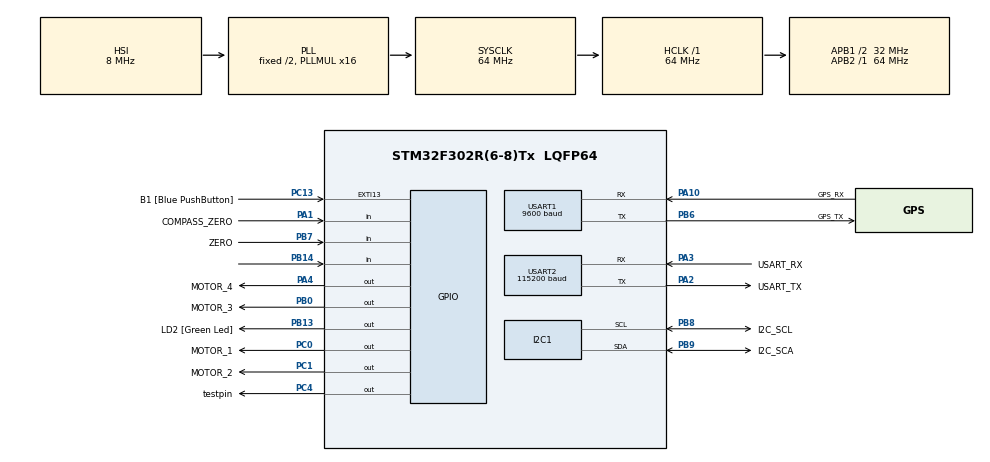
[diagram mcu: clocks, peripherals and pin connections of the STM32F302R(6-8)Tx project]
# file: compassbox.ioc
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I2C1.Timing=0x2000090E
Mcu.Family=STM32F3
Mcu.Name=STM32F302R(6-8)Tx
Mcu.Package=LQFP64
NVIC.PriorityGroup=NVIC_PRIORITYGROUP_0
NVIC.TIM6_DAC_IRQn=true\:0\:0\:false\:false\:true
NVIC.USART1_IRQn=true\:0\:0\:false\:false\:true
PA1.GPIO_Label=COMPASS_ZERO
PA1.Signal=GPIO_Input
PA10.GPIO_Label=GPS_RX
PA10.Mode=Asynchronous
PA10.Signal=USART1_RX
PA13.GPIO_Label=TMS
PA13.Signal=SYS_JTMS-SWDIO
PA14.GPIO_Label=TCK
PA14.Signal=SYS_JTCK-SWCLK
PA2.GPIO_Label=USART_TX
PA2.GPIO_Mode=GPIO_MODE_AF_PP
PA2.GPIO_PuPd=GPIO_NOPULL
PA2.GPIO_Speed=GPIO_SPEED_FREQ_LOW
PA2.Mode=Asynchronous
PA2.Signal=USART2_TX
PA3.GPIO_Label=USART_RX
PA3.GPIO_Mode=GPIO_MODE_AF_PP
PA3.GPIO_PuPd=GPIO_NOPULL
PA3.GPIO_Speed=GPIO_SPEED_FREQ_LOW
PA3.Mode=Asynchronous
PA3.Signal=USART2_RX
PA4.GPIO_Label=MOTOR_4
PA4.Signal=GPIO_Output
PB0.GPIO_Label=MOTOR_3
PB0.Signal=GPIO_Output
PB13.GPIO_Label=LD2 [Green Led]
PB13.Signal=GPIO_Output
PB14.Signal=GPIO_Input
PB3.GPIO_Label=SWO
PB3.Signal=SYS_JTDO-TRACESWO
PB6.GPIO_Label=GPS_TX
PB6.Mode=Asynchronous
PB6.Signal=USART1_TX
PB7.GPIO_Label=ZERO
PB7.Signal=GPIO_Input
PB8.GPIO_Label=I2C_SCL
PB8.Mode=I2C
PB8.Signal=I2C1_SCL
PB9.GPIO_Label=I2C_SCA
PB9.Mode=I2C
PB9.Signal=I2C1_SDA
PC0.GPIO_Label=MOTOR_1
PC0.Signal=GPIO_Output
PC1.GPIO_Label=MOTOR_2
PC1.Signal=GPIO_Output
PC13.GPIO_Label=B1 [Blue PushButton]
PC13.GPIO_ModeDefaultEXTI=GPIO_MODE_EVT_RISING
PC13.Signal=GPXTI13
PC14\ -\ OSC32_IN.Signal=RCC_OSC32_IN
PC15\ -\ OSC32_OUT.Signal=RCC_OSC32_OUT
PC4.GPIO_Label=testpin
PC4.Signal=GPIO_Output
PF0-OSC_IN.Signal=RCC_OSC_IN
PF1-OSC_OUT.Signal=RCC_OSC_OUT
ProjectManager.HeapSize=0x200
ProjectManager.StackSize=0x400
ProjectManager.TargetToolchain=TrueSTUDIO
RCC.AHBFreq_Value=64000000
RCC.APB1CLKDivider=RCC_HCLK_DIV2
RCC.APB1Freq_Value=32000000
RCC.APB1TimFreq_Value=64000000
RCC.APB2Freq_Value=64000000
RCC.APB2TimFreq_Value=64000000
RCC.CortexFreq_Value=64000000
RCC.HCLKFreq_Value=64000000
RCC.HSE_VALUE=8000000
RCC.HSI_VALUE=8000000
RCC.LSE_VALUE=32768
RCC.PLLM=8
RCC.PLLMUL=RCC_PLL_MUL16
RCC.PLLN=336
RCC.PLLP=RCC_PLLP_DIV4
RCC.PLLQ=7
RCC.RCC_PLLsource_Clock_Source_FROM_HSE=RCC_HSE_PREDIV_DIV2
RCC.SYSCLKFreq_VALUE=64000000
RCC.SYSCLKSourceVirtual=RCC_SYSCLKSOURCE_PLLCLK
RCC.USBFreq_Value=64000000
TIM6.Period=255
TIM6.Prescaler=1
USART1.BaudRate=9600
USART1.WordLength=UART_WORDLENGTH_8B
USART2.BaudRate=115200
USART2.WordLength=UART_WORDLENGTH_8B
VP_TIM6_VS_ClockSourceINT.Mode=Enable_Timer
board=NUCLEO-F302R8

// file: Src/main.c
/**
  ******************************************************************************
  * File Name          : main.c
  * Description        : Main program body
  ******************************************************************************
  *
  * COPYRIGHT(c) 2017 STMicroelectronics
  *
  * Redistribution and use in source and binary forms, with or without modification,
  * are permitted provided that the following conditions are met:
  *   1. Redistributions of source code must retain the above copyright notice,
  *      this list of conditions and the following disclaimer.
  *   2. Redistributions in binary form must reproduce the above copyright notice,
  *      this list of conditions and the following disclaimer in the documentation
  *      and/or other materials provided with the distribution.
  *   3. Neither the name of STMicroelectronics nor the names of its contributors
  *      may be used to endorse or promote products derived from this software
  *      without specific prior written permission.
  *
  * THIS SOFTWARE IS PROVIDED BY THE COPYRIGHT HOLDERS AND CONTRIBUTORS "AS IS"
  * AND ANY EXPRESS OR IMPLIED WARRANTIES, INCLUDING, BUT NOT LIMITED TO, THE
  * IMPLIED WARRANTIES OF MERCHANTABILITY AND FITNESS FOR A PARTICULAR PURPOSE ARE
  * DISCLAIMED. IN NO EVENT SHALL THE COPYRIGHT HOLDER OR CONTRIBUTORS BE LIABLE
  * FOR ANY DIRECT, INDIRECT, INCIDENTAL, SPECIAL, EXEMPLARY, OR CONSEQUENTIAL
  * DAMAGES (INCLUDING, BUT NOT LIMITED TO, PROCUREMENT OF SUBSTITUTE GOODS OR
  * SERVICES; LOSS OF USE, DATA, OR PROFITS; OR BUSINESS INTERRUPTION) HOWEVER
  * CAUSED AND ON ANY THEORY OF LIABILITY, WHETHER IN CONTRACT, STRICT LIABILITY,
  * OR TORT (INCLUDING NEGLIGENCE OR OTHERWISE) ARISING IN ANY WAY OUT OF THE USE
  * OF THIS SOFTWARE, EVEN IF ADVISED OF THE POSSIBILITY OF SUCH DAMAGE.
  *
  ******************************************************************************
  */
#include "stm32f3xx_hal.h"

/* USER CODE BEGIN Includes */
#include "compass.h"

#include "nmea/info.h"

#include "nmea/parser.h"

#include "nmea/gmath.h"

#include "motor.h"
/* USER CODE END Includes */

I2C_HandleTypeDef hi2c1;

TIM_HandleTypeDef htim6;

UART_HandleTypeDef huart1;
UART_HandleTypeDef huart2;

/* USER CODE BEGIN PV */
/* Private variables ---------------------------------------------------------*/
#define GPS_BUFFSIZE 256
nmeaPOS dest_pos = {
		.lat = 51.248596,
		.lon = -0.716903
};

/* USER CODE END PV */

void SystemClock_Config(void);
void Error_Handler(void);
static void MX_GPIO_Init(void);
static void MX_I2C1_Init(void);
static void MX_USART1_UART_Init(void);
static void MX_USART2_UART_Init(void);
static void MX_TIM6_Init(void);

/* USER CODE BEGIN PFP */
/* Private function prototypes -----------------------------------------------*/
bool get_location(nmeaPOS *pos);
int16_t angleFromCoordinate(nmeaPOS *pos1, nmeaPOS *pos2);
/* USER CODE END PFP */

/* USER CODE BEGIN 0 */

typedef enum {
	STARTUP = 0,
	ZERO_MOTORS,
	GET_FIX,
	ACTIVE,
	COMPASS_ERROR = -1
} state_t;

int _write(int file, char *data, int len) {   // arbitrary timeout 1000
	HAL_StatusTypeDef status = HAL_UART_Transmit(&huart2, (uint8_t*) data, len,
			1);

	// return # of bytes written - as best we can tell
	return (status == HAL_OK ? len : 0);
}

bool _cmd_rcvd;
//#define TEST
/* USER CODE END 0 */

int main(void)
{

  /* USER CODE BEGIN 1 */
	_cmd_rcvd = false;
	nmeaPOS gps_pos = {0.0,0.0};
	state_t state = STARTUP;
  /* USER CODE END 1 */

  /* MCU Configuration----------------------------------------------------------*/

  /* Reset of all peripherals, Initializes the Flash interface and the Systick. */
  HAL_Init();

  /* Configure the system clock */
  SystemClock_Config();

  /* Initialize all configured peripherals */
  MX_GPIO_Init();
  MX_I2C1_Init();
  MX_USART1_UART_Init();
  MX_USART2_UART_Init();
  MX_TIM6_Init();

  /* USER CODE BEGIN 2 */
	printf("Compass\n\r");
//	zero_motor();
//	compass_init(&hi2c1);
//	while(1)
//	{
//		printf("C = %d\n\r",compass_get_heading());
//		HAL_Delay(1000);
//	}
  /* USER CODE END 2 */

  /* Infinite loop */
  /* USER CODE BEGIN WHILE */
	get_location(&gps_pos);//i think it is reasonable that the unit isn't going to move in this situation, at least not by enough we'll care

	int16_t current_bearing = 0;
	int16_t resolved_angle = 0;
	while (1)
	{
		switch(state)
		{
		case STARTUP:
			printf("Start up\n\r");
			compass_init(&hi2c1);
			state = ZERO_MOTORS;
			break;
		case ZERO_MOTORS:
			printf("Zeroing motors\n\r");
			if(zero_motor())
			{
				state = GET_FIX;
#ifdef TEST
				state = ACTIVE;
#endif
			}
			else
			{
				state = COMPASS_ERROR;
			}
			break;
		case GET_FIX:
			printf("Get fix\n\r");
//			get_location(&gps_pos);//i think it is reasonable that the unit isn't going to move in this situation, at least not by enough we'll care
			resolved_angle = angleFromCoordinate(&gps_pos, &dest_pos);
			printf("A= %d\n\r", resolved_angle);

			//@todo implement a timeout
			state = ACTIVE;
			break;
		case ACTIVE:
			printf("Active!!\n\r");
			current_bearing = compass_get_heading() - 180;
//			for now, we'll assume there is 0 fudge factor between the compass and box
			printf("C = %d,p = %d\n\r", current_bearing, resolved_angle - current_bearing);
			set_target((resolved_angle - current_bearing + 360)%360);
			break;

		default:
			printf("Error occurred...\n\r");
			while(1);
			return 1;
		}
		HAL_Delay(500);
//	  test_motors();
//	  HAL_Delay(1000);
  /* USER CODE END WHILE */

	}

}

/** System Clock Configuration
*/
void SystemClock_Config(void)
{

  RCC_OscInitTypeDef RCC_OscInitStruct;
  RCC_ClkInitTypeDef RCC_ClkInitStruct;
  RCC_PeriphCLKInitTypeDef PeriphClkInit;

  RCC_OscInitStruct.OscillatorType = RCC_OSCILLATORTYPE_HSI;
  RCC_OscInitStruct.HSIState = RCC_HSI_ON;
  RCC_OscInitStruct.HSICalibrationValue = 16;
  RCC_OscInitStruct.PLL.PLLState = RCC_PLL_ON;
  RCC_OscInitStruct.PLL.PLLSource = RCC_PLLSOURCE_HSI;
  RCC_OscInitStruct.PLL.PLLMUL = RCC_PLL_MUL16;
  if (HAL_RCC_OscConfig(&RCC_OscInitStruct) != HAL_OK)
  {
    Error_Handler();
  }

  RCC_ClkInitStruct.ClockType = RCC_CLOCKTYPE_HCLK|RCC_CLOCKTYPE_SYSCLK
                              |RCC_CLOCKTYPE_PCLK1|RCC_CLOCKTYPE_PCLK2;
  RCC_ClkInitStruct.SYSCLKSource = RCC_SYSCLKSOURCE_PLLCLK;
  RCC_ClkInitStruct.AHBCLKDivider = RCC_SYSCLK_DIV1;
  RCC_ClkInitStruct.APB1CLKDivider = RCC_HCLK_DIV2;
  RCC_ClkInitStruct.APB2CLKDivider = RCC_HCLK_DIV1;
  if (HAL_RCC_ClockConfig(&RCC_ClkInitStruct, FLASH_LATENCY_2) != HAL_OK)
  {
    Error_Handler();
  }

  PeriphClkInit.PeriphClockSelection = RCC_PERIPHCLK_USART1|RCC_PERIPHCLK_I2C1;
  PeriphClkInit.Usart1ClockSelection = RCC_USART1CLKSOURCE_PCLK1;
  PeriphClkInit.I2c1ClockSelection = RCC_I2C1CLKSOURCE_HSI;
  if (HAL_RCCEx_PeriphCLKConfig(&PeriphClkInit) != HAL_OK)
  {
    Error_Handler();
  }

  HAL_SYSTICK_Config(HAL_RCC_GetHCLKFreq()/1000);

  HAL_SYSTICK_CLKSourceConfig(SYSTICK_CLKSOURCE_HCLK);

  /* SysTick_IRQn interrupt configuration */
  HAL_NVIC_SetPriority(SysTick_IRQn, 0, 0);
}

/* I2C1 init function */
static void MX_I2C1_Init(void)
{

  hi2c1.Instance = I2C1;
  hi2c1.Init.Timing = 0x2000090E;
  hi2c1.Init.OwnAddress1 = 0;
  hi2c1.Init.AddressingMode = I2C_ADDRESSINGMODE_7BIT;
  hi2c1.Init.DualAddressMode = I2C_DUALADDRESS_DISABLE;
  hi2c1.Init.OwnAddress2 = 0;
  hi2c1.Init.OwnAddress2Masks = I2C_OA2_NOMASK;
  hi2c1.Init.GeneralCallMode = I2C_GENERALCALL_DISABLE;
  hi2c1.Init.NoStretchMode = I2C_NOSTRETCH_DISABLE;
  if (HAL_I2C_Init(&hi2c1) != HAL_OK)
  {
    Error_Handler();
  }

    /**Configure Analogue filter
    */
  if (HAL_I2CEx_ConfigAnalogFilter(&hi2c1, I2C_ANALOGFILTER_ENABLE) != HAL_OK)
  {
    Error_Handler();
  }

}

/* TIM6 init function */
static void MX_TIM6_Init(void)
{

  TIM_MasterConfigTypeDef sMasterConfig;

  htim6.Instance = TIM6;
  htim6.Init.Prescaler = 1;
  htim6.Init.CounterMode = TIM_COUNTERMODE_UP;
  htim6.Init.Period = 255;
  if (HAL_TIM_Base_Init(&htim6) != HAL_OK)
  {
    Error_Handler();
  }

  sMasterConfig.MasterOutputTrigger = TIM_TRGO_RESET;
  sMasterConfig.MasterSlaveMode = TIM_MASTERSLAVEMODE_DISABLE;
  if (HAL_TIMEx_MasterConfigSynchronization(&htim6, &sMasterConfig) != HAL_OK)
  {
    Error_Handler();
  }

}

/* USART1 init function */
static void MX_USART1_UART_Init(void)
{

  huart1.Instance = USART1;
  huart1.Init.BaudRate = 9600;
  huart1.Init.WordLength = UART_WORDLENGTH_8B;
  huart1.Init.StopBits = UART_STOPBITS_1;
  huart1.Init.Parity = UART_PARITY_NONE;
  huart1.Init.Mode = UART_MODE_TX_RX;
  huart1.Init.HwFlowCtl = UART_HWCONTROL_NONE;
  huart1.Init.OverSampling = UART_OVERSAMPLING_16;
  huart1.Init.OneBitSampling = UART_ONE_BIT_SAMPLE_DISABLE;
  huart1.AdvancedInit.AdvFeatureInit = UART_ADVFEATURE_NO_INIT;
  if (HAL_UART_Init(&huart1) != HAL_OK)
  {
    Error_Handler();
  }

}

/* USART2 init function */
static void MX_USART2_UART_Init(void)
{

  huart2.Instance = USART2;
  huart2.Init.BaudRate = 115200;
  huart2.Init.WordLength = UART_WORDLENGTH_8B;
  huart2.Init.StopBits = UART_STOPBITS_1;
  huart2.Init.Parity = UART_PARITY_NONE;
  huart2.Init.Mode = UART_MODE_TX_RX;
  huart2.Init.HwFlowCtl = UART_HWCONTROL_NONE;
  huart2.Init.OverSampling = UART_OVERSAMPLING_16;
  huart2.Init.OneBitSampling = UART_ONE_BIT_SAMPLE_DISABLE;
  huart2.AdvancedInit.AdvFeatureInit = UART_ADVFEATURE_NO_INIT;
  if (HAL_UART_Init(&huart2) != HAL_OK)
  {
    Error_Handler();
  }

}

/** Configure pins as
        * Analog
        * Input
        * Output
        * EVENT_OUT
        * EXTI
*/
static void MX_GPIO_Init(void)
{

  GPIO_InitTypeDef GPIO_InitStruct;

  /* GPIO Ports Clock Enable */
  __HAL_RCC_GPIOC_CLK_ENABLE();
  __HAL_RCC_GPIOF_CLK_ENABLE();
  __HAL_RCC_GPIOA_CLK_ENABLE();
  __HAL_RCC_GPIOB_CLK_ENABLE();

  /*Configure GPIO pin : B1_Pin */
  GPIO_InitStruct.Pin = B1_Pin;
  GPIO_InitStruct.Mode = GPIO_MODE_EVT_RISING;
  GPIO_InitStruct.Pull = GPIO_NOPULL;
  HAL_GPIO_Init(B1_GPIO_Port, &GPIO_InitStruct);

  /*Configure GPIO pins : MOTOR_1_Pin MOTOR_2_Pin testpin_Pin */
  GPIO_InitStruct.Pin = MOTOR_1_Pin|MOTOR_2_Pin|testpin_Pin;
  GPIO_InitStruct.Mode = GPIO_MODE_OUTPUT_PP;
  GPIO_InitStruct.Pull = GPIO_NOPULL;
  GPIO_InitStruct.Speed = GPIO_SPEED_FREQ_LOW;
  HAL_GPIO_Init(GPIOC, &GPIO_InitStruct);

  /*Configure GPIO pin : COMPASS_ZERO_Pin */
  GPIO_InitStruct.Pin = COMPASS_ZERO_Pin;
  GPIO_InitStruct.Mode = GPIO_MODE_INPUT;
  GPIO_InitStruct.Pull = GPIO_NOPULL;
  HAL_GPIO_Init(COMPASS_ZERO_GPIO_Port, &GPIO_InitStruct);

  /*Configure GPIO pin : MOTOR_4_Pin */
  GPIO_InitStruct.Pin = MOTOR_4_Pin;
  GPIO_InitStruct.Mode = GPIO_MODE_OUTPUT_PP;
  GPIO_InitStruct.Pull = GPIO_NOPULL;
  GPIO_InitStruct.Speed = GPIO_SPEED_FREQ_LOW;
  HAL_GPIO_Init(MOTOR_4_GPIO_Port, &GPIO_InitStruct);

  /*Configure GPIO pins : MOTOR_3_Pin LD2_Pin */
  GPIO_InitStruct.Pin = MOTOR_3_Pin|LD2_Pin;
  GPIO_InitStruct.Mode = GPIO_MODE_OUTPUT_PP;
  GPIO_InitStruct.Pull = GPIO_NOPULL;
  GPIO_InitStruct.Speed = GPIO_SPEED_FREQ_LOW;
  HAL_GPIO_Init(GPIOB, &GPIO_InitStruct);

  /*Configure GPIO pins : PB14 ZERO_Pin */
  GPIO_InitStruct.Pin = GPIO_PIN_14|ZERO_Pin;
  GPIO_InitStruct.Mode = GPIO_MODE_INPUT;
  GPIO_InitStruct.Pull = GPIO_NOPULL;
  HAL_GPIO_Init(GPIOB, &GPIO_InitStruct);

  /*Configure GPIO pin Output Level */
  HAL_GPIO_WritePin(GPIOC, MOTOR_1_Pin|MOTOR_2_Pin|testpin_Pin, GPIO_PIN_RESET);

  /*Configure GPIO pin Output Level */
  HAL_GPIO_WritePin(MOTOR_4_GPIO_Port, MOTOR_4_Pin, GPIO_PIN_RESET);

  /*Configure GPIO pin Output Level */
  HAL_GPIO_WritePin(GPIOB, MOTOR_3_Pin|LD2_Pin, GPIO_PIN_RESET);

}

/* USER CODE BEGIN 4 */
void HAL_UART_RxCpltCallback(UART_HandleTypeDef *huart)
{
	_cmd_rcvd = true;
}

int16_t angleFromCoordinate(nmeaPOS *from, nmeaPOS *to)
{
	//convert to rads
	double long1, long2, lat1, lat2;
	long1 = nmea_degree2radian(from->lon);
	lat1 = nmea_degree2radian(from->lat);
	long2 = nmea_degree2radian(to->lon);
	lat2 = nmea_degree2radian(to->lat);
	double dLon = (long2 - long1);

	double y = sin(dLon) * cos(lat2);
	double x = cos(lat1) * sin(lat2) - sin(lat1)* cos(lat2) * cos(dLon);

	double brng = atan2(y, x);

	brng = nmea_radian2degree(brng);
	int16_t result = (((int16_t)brng + 360) % 360);
	//brng = 360 - brng; // count degrees counter-clockwise - remove to make clockwise

	return result;
}

bool get_location(nmeaPOS *pos)
{
	nmeaINFO info;
	nmeaPARSER parser;
	bool has_lock = false;
	nmea_zero_INFO(&info);
	nmea_parser_init(&parser);
	uint8_t data[GPS_BUFFSIZE] = { 0 };
	uint8_t ptr = 0;
	uint8_t data_b = 0;

	//get a command from GPS
	data_b = 0;
	memset(data, 0, GPS_BUFFSIZE);
	ptr = 0;
	//wait for a $
	while(data_b != '$')
	{
		data_b = 0;
		HAL_UART_Receive(&huart1, &data_b, 1, 10000);
	}
	data[ptr++] = data_b;
	while(!has_lock)
	{
		//put all data in a buffer
		if(HAL_OK == HAL_UART_Receive(&huart1, &data_b, 1, 1))
		{
			data[ptr++] = data_b;
			// until received a \n
			if((data_b == '\n') || (data_b == '\r'))
			{
				nmea_parse(&parser, (char *)data, (int)strlen((char *)data), &info);
			}
		}

		if(info.sig == 1)//has fix
		{
			has_lock = true;
		}
	}
	//fix got!
	pos->lat = nmea_ndeg2degree(info.lat);
	pos->lon = nmea_ndeg2degree(info.lon);
	printf("Fix obtained: LAT:%f, LON:%f, UTC:%d:%d, dec:%f\n\r", pos->lat, pos->lon, info.utc.hour, info.utc.min, info.declination);
	return true;
}

/* USER CODE END 4 */

void Error_Handler(void)
{
	while (1) {
	}
}

/************************ (C) COPYRIGHT STMicroelectronics *****END OF FILE****/
